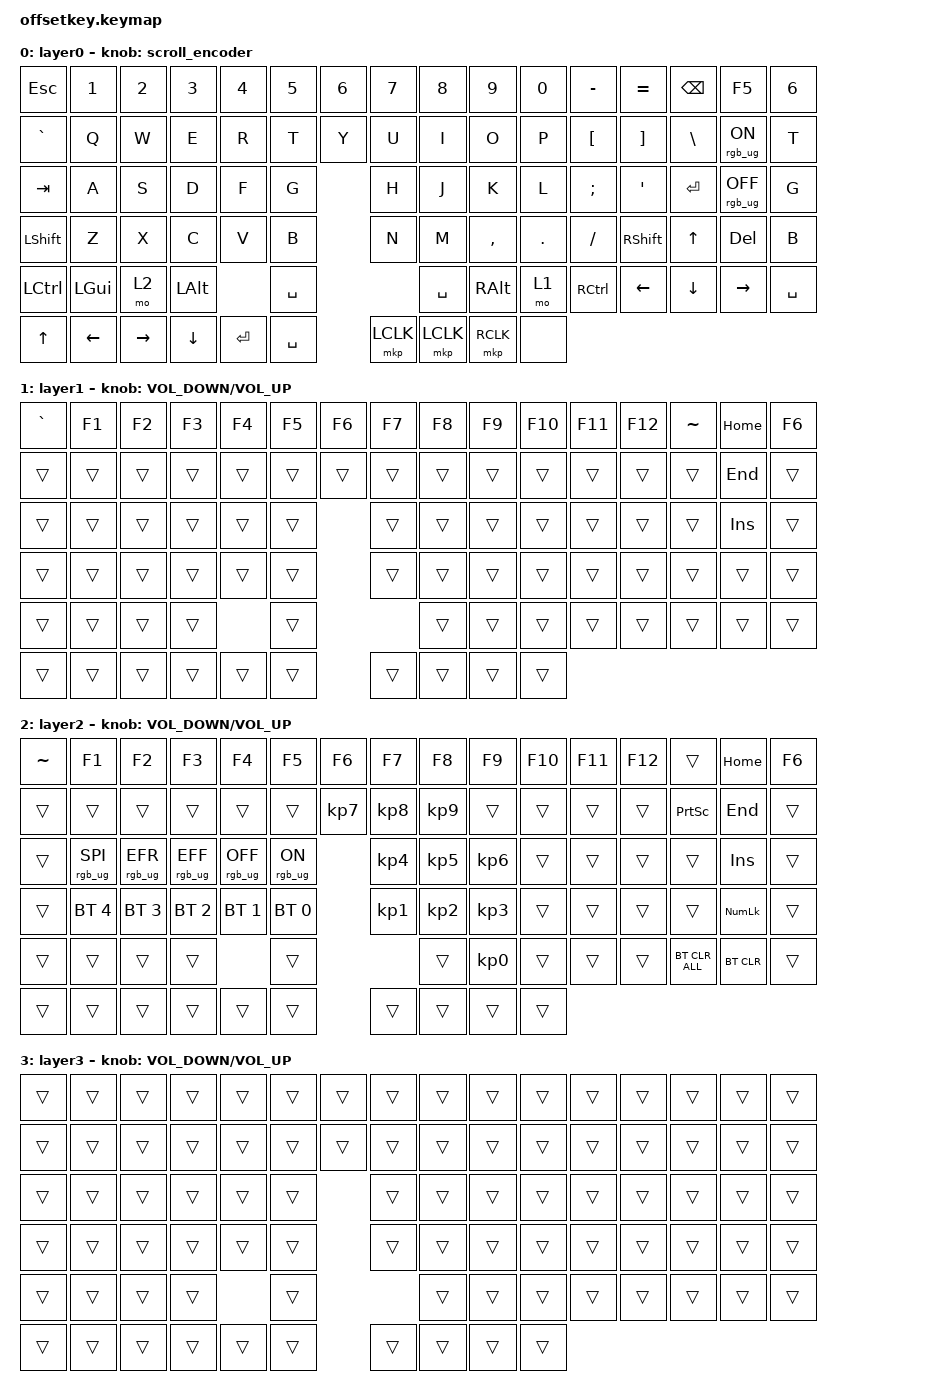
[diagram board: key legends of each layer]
#define BASE 0
#define LOWER 1
#define MOUSE_KEYS 2
#define MOUSE_TP 3
#define MOUSE_TP_SET 4
#define ZMK_POINTING_DEFAULT_SCRL_VAL 45   // 10

#include <input/processors.dtsi>
#include <zephyr/dt-bindings/input/input-event-codes.h>
#include <behaviors.dtsi>
#include <dt-bindings/zmk/bt.h>

#include <dt-bindings/zmk/keys.h>
#include <dt-bindings/zmk/pointing.h>
#include <dt-bindings/zmk/rgb.h>

#include <behaviors/toggle_io.dtsi>
#include <behaviors/on_io.dtsi>
#include <behaviors/off_io.dtsi>




&mmv_input_listener { input-processors = <&zip_xy_scaler 2 1>; };

&msc_input_listener { input-processors = <&zip_scroll_scaler 2 1>; };

&msc {
    acceleration-exponent = <1>;      // 0
    time-to-max-speed-ms = <100>;       // 300
    delay-ms = <0>;                   // 0
};

&mmv {
    time-to-max-speed-ms = <500>;
    acceleration-exponent = <1>;
    trigger-period-ms = <16>;
};

/ {
    scroll_encoder: scroll_encoder {
        compatible = "zmk,behavior-sensor-rotate";
        #sensor-binding-cells = <0>;
        bindings = <&msc SCRL_DOWN>, <&msc SCRL_UP>;

        tap-ms = <100>;
    };

    behaviors {
        ltq: ltq {
            compatible = "zmk,behavior-hold-tap";
            label = "LTQ";
            bindings = <&mo>, <&kp>;

            #binding-cells = <2>;
            tapping-term-ms = <200>;
            quick-tap-ms = <180>;
        };
    };

    combos {
        compatible = "zmk,combos";

        flash {
            bindings = <&bootloader>;
            key-positions = <0 11>;
        };
    };

    keymap {
        compatible = "zmk,keymap";

        BASE {
            bindings = <
&kp ESC       &kp N1          &kp N2           &kp N3          &kp N4     &kp N5     &kp N6      &kp N7     &kp N8     &kp N9         &kp N0   &kp MINUS  &kp EQUAL  &kp BSPC      &kp F5                           &kp NUMBER_6
&kp GRAVE     &kp Q           &kp W            &kp E           &kp R      &kp T                  &kp Y      &kp U      &kp I          &kp O    &kp P      &kp LBKT   &kp RBKT      &kp BSLH         &rgb_ug RGB_ON  &kp T
&kp TAB       &kp A           &kp S            &kp D           &kp F      &kp G                  &kp H      &kp J      &kp K          &kp L    &kp SEMI   &kp APOS   &kp ENTER     &rgb_ug RGB_OFF                  &kp G
&kp LSHFT     &kp Z           &kp X            &kp C           &kp V      &kp B                  &kp N      &kp M      &kp COMMA      &kp DOT  &kp FSLH   &kp RSHFT  &kp UP_ARROW  &kp DELETE                       &kp B
&kp LCTRL     &kp LEFT_GUI    &mo 2            &kp LEFT_ALT               &kp SPACE                         &kp SPACE  &kp RIGHT_ALT  &mo 1    &kp RCTRL  &kp LEFT   &kp DOWN      &kp RIGHT                        &kp SPACE
&kp UP_ARROW  &kp LEFT_ARROW  &kp RIGHT_ARROW  &kp DOWN_ARROW  &kp ENTER  &kp SPACE              &mkp LCLK  &mkp LCLK  &mkp RCLK      &none
            >;

            label = "layer0";
            sensor-bindings = <&scroll_encoder>;
        };

        layer_1 {
            bindings = <
&kp GRAVE  &kp F1  &kp F2  &kp F3  &kp F4  &kp F5  &kp F6      &kp F7  &kp F8  &kp F9  &kp F10  &kp F11  &kp F12  &kp TILDE  &kp HOME             &kp F6
&trans     &trans  &trans  &trans  &trans  &trans              &trans  &trans  &trans  &trans   &trans   &trans   &trans     &trans      &kp END  &trans
&trans     &trans  &trans  &trans  &trans  &trans              &trans  &trans  &trans  &trans   &trans   &trans   &trans     &kp INSERT           &trans
&trans     &trans  &trans  &trans  &trans  &trans              &trans  &trans  &trans  &trans   &trans   &trans   &trans     &trans               &trans
&trans     &trans  &trans  &trans          &trans                      &trans  &trans  &trans   &trans   &trans   &trans     &trans               &trans
&trans     &trans  &trans  &trans  &trans  &trans              &trans  &trans  &trans  &trans
            >;

            label = "layer1";
            sensor-bindings = <&inc_dec_kp C_VOLUME_DOWN C_VOLUME_UP>;
        };

        layer_2 {
            bindings = <
&kp TILDE  &kp F1           &kp F2           &kp F3           &kp F4           &kp F5          &kp F6      &kp F7  &kp F8           &kp F9           &kp F10          &kp F11  &kp F12  &trans          &kp HOME                  &kp F6
&trans     &trans           &trans           &trans           &trans           &trans                      &kp KP_NUMBER_7  &kp KP_NUMBER_8  &kp KP_NUMBER_9  &trans  &trans   &trans   &trans          &kp PRINTSCREEN  &kp END  &trans
&trans     &rgb_ug RGB_SPI  &rgb_ug RGB_EFR  &rgb_ug RGB_EFF  &rgb_ug RGB_OFF  &rgb_ug RGB_ON              &kp KP_NUMBER_4  &kp KP_NUMBER_5  &kp KP_NUMBER_6  &trans  &trans   &trans   &trans          &kp INSERT                &trans
&trans     &bt BT_SEL 4     &bt BT_SEL 3     &bt BT_SEL 2     &bt BT_SEL 1     &bt BT_SEL 0                &kp KP_NUMBER_1  &kp KP_NUMBER_2  &kp KP_NUMBER_3  &trans  &trans   &trans   &trans          &kp KP_NUMLOCK            &trans
&trans     &trans           &trans           &trans                            &trans                              &trans           &kp KP_NUMBER_0  &trans           &trans   &trans   &bt BT_CLR_ALL  &bt BT_CLR                &trans
&trans     &trans           &trans           &trans           &trans           &trans                      &trans  &trans           &trans           &trans
            >;

            label = "layer2";
            sensor-bindings = <&inc_dec_kp C_VOLUME_DOWN C_VOLUME_UP>;
        };

        layer_3 {
            bindings = <
&trans  &trans  &trans  &trans  &trans  &trans  &trans      &trans  &trans  &trans  &trans  &trans  &trans  &trans  &trans          &trans
&trans  &trans  &trans  &trans  &trans  &trans              &trans  &trans  &trans  &trans  &trans  &trans  &trans  &trans  &trans  &trans
&trans  &trans  &trans  &trans  &trans  &trans              &trans  &trans  &trans  &trans  &trans  &trans  &trans  &trans          &trans
&trans  &trans  &trans  &trans  &trans  &trans              &trans  &trans  &trans  &trans  &trans  &trans  &trans  &trans          &trans
&trans  &trans  &trans  &trans          &trans                      &trans  &trans  &trans  &trans  &trans  &trans  &trans          &trans
&trans  &trans  &trans  &trans  &trans  &trans              &trans  &trans  &trans  &trans
            >;

            label = "layer3";
            sensor-bindings = <&inc_dec_kp C_VOLUME_DOWN C_VOLUME_UP>;
        };
    };
};
